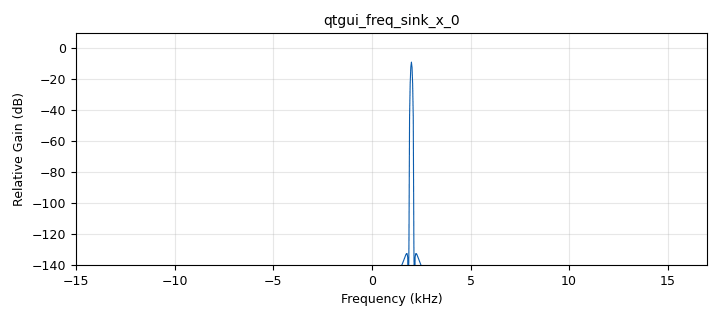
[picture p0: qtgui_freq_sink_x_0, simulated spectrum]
options:
  parameters:
    generate_options: qt_gui
    id: variable_test
    output_language: python
    title: Not titled yet
  states: {}

blocks:
- name: freq
  id: variable
  parameters:
    value: '1000'
  states: {}
- name: samp_rate
  id: variable
  parameters:
    value: '32000'
  states: {}
- name: analog_sig_source_x_0
  id: analog_sig_source_x
  parameters:
    amp: '1'
    freq: freq
    offset: '0'
    phase: '0'
    samp_rate: samp_rate
    type: complex
    waveform: analog.GR_COS_WAVE
  states: {}
- name: blocks_throttle_0
  id: blocks_throttle
  parameters:
    samples_per_second: samp_rate
    type: complex
  states: {}
- name: qtgui_freq_sink_x_0
  id: qtgui_freq_sink_x
  parameters:
    bw: samp_rate
    fc: freq
    fftsize: '1024'
    type: complex
  states: {}

connections:
- [analog_sig_source_x_0, '0', blocks_throttle_0, '0']
- [blocks_throttle_0, '0', qtgui_freq_sink_x_0, '0']

metadata:
  file_format: 1
